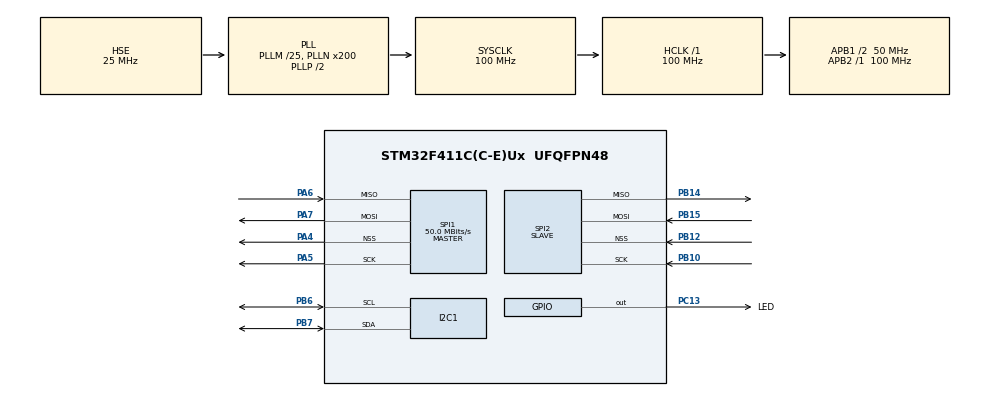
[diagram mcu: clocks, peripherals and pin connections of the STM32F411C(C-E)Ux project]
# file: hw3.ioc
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I2C1.OwnAddress=0x7b
Mcu.Family=STM32F4
Mcu.Name=STM32F411C(C-E)Ux
Mcu.Package=UFQFPN48
NVIC.PriorityGroup=NVIC_PRIORITYGROUP_4
PA13.Mode=JTAG_4_pins
PA13.Signal=SYS_JTMS-SWDIO
PA14.Mode=JTAG_4_pins
PA14.Signal=SYS_JTCK-SWCLK
PA15.Mode=JTAG_4_pins
PA15.Signal=SYS_JTDI
PA4.Mode=NSS_Signal_Hard_Output
PA4.Signal=SPI1_NSS
PA5.Mode=Full_Duplex_Master
PA5.Signal=SPI1_SCK
PA6.Mode=Full_Duplex_Master
PA6.Signal=SPI1_MISO
PA7.Mode=Full_Duplex_Master
PA7.Signal=SPI1_MOSI
PB10.Mode=Full_Duplex_Slave
PB10.Signal=SPI2_SCK
PB12.Mode=NSS_Signal_Hard_Input
PB12.Signal=SPI2_NSS
PB14.Mode=Full_Duplex_Slave
PB14.Signal=SPI2_MISO
PB15.Mode=Full_Duplex_Slave
PB15.Signal=SPI2_MOSI
PB3.Mode=JTAG_4_pins
PB3.Signal=SYS_JTDO-SWO
PB6.Mode=I2C
PB6.Signal=I2C1_SCL
PB7.Mode=I2C
PB7.Signal=I2C1_SDA
PC13-ANTI_TAMP.GPIO_Label=LED
PC13-ANTI_TAMP.GPIO_PuPd=GPIO_PULLDOWN
PC13-ANTI_TAMP.PinState=GPIO_PIN_SET
PC13-ANTI_TAMP.Signal=GPIO_Output
PH0\ -\ OSC_IN.Mode=HSE-External-Oscillator
PH0\ -\ OSC_IN.Signal=RCC_OSC_IN
PH1\ -\ OSC_OUT.Mode=HSE-External-Oscillator
PH1\ -\ OSC_OUT.Signal=RCC_OSC_OUT
ProjectManager.HeapSize=0x200
ProjectManager.StackSize=0x400
ProjectManager.TargetToolchain=Makefile
RCC.48MHZClocksFreq_Value=50000000
RCC.AHBFreq_Value=100000000
RCC.APB1CLKDivider=RCC_HCLK_DIV2
RCC.APB1Freq_Value=50000000
RCC.APB1TimFreq_Value=100000000
RCC.APB2Freq_Value=100000000
RCC.APB2TimFreq_Value=100000000
RCC.CortexFreq_Value=100000000
RCC.HCLKFreq_Value=100000000
RCC.HSE_VALUE=25000000
RCC.HSI_VALUE=16000000
RCC.LSE_VALUE=32768
RCC.PLLM=25
RCC.PLLN=200
RCC.PLLSourceVirtual=RCC_PLLSOURCE_HSE
RCC.PWR_Regulator_Voltage_Scale=PWR_REGULATOR_VOLTAGE_SCALE1
RCC.SYSCLKFreq_VALUE=100000000
RCC.SYSCLKSource=RCC_SYSCLKSOURCE_PLLCLK
RCC.VCOOutputFreq_Value=200000000
SPI1.BaudRatePrescaler=SPI_BAUDRATEPRESCALER_2
SPI1.CLKPhase=SPI_PHASE_2EDGE
SPI1.CLKPolarity=SPI_POLARITY_HIGH
SPI1.CRCCalculation=SPI_CRCCALCULATION_ENABLE
SPI1.CalculateBaudRate=50.0 MBits/s
SPI1.DataSize=SPI_DATASIZE_16BIT
SPI1.Direction=SPI_DIRECTION_2LINES
SPI1.Mode=SPI_MODE_MASTER
SPI1.VirtualNSS=VM_NSSHARD
SPI1.VirtualType=VM_MASTER
SPI2.CLKPhase=SPI_PHASE_2EDGE
SPI2.CLKPolarity=SPI_POLARITY_HIGH
SPI2.CRCCalculation=SPI_CRCCALCULATION_ENABLE
SPI2.DataSize=SPI_DATASIZE_16BIT
SPI2.Direction=SPI_DIRECTION_2LINES
SPI2.Mode=SPI_MODE_SLAVE
SPI2.VirtualNSS=VM_NSSHARD
SPI2.VirtualType=VM_SLAVE
board=custom

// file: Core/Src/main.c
/* USER CODE BEGIN Header */
/**
  ******************************************************************************
  * @file           : main.c
  * @brief          : Main program body
  ******************************************************************************
  * @attention
  *
  * Copyright (c) 2026 STMicroelectronics.
  * All rights reserved.
  *
  * This software is licensed under terms that can be found in the LICENSE file
  * in the root directory of this software component.
  * If no LICENSE file comes with this software, it is provided AS-IS.
  *
  ******************************************************************************
  */
/* USER CODE END Header */
#include "main.h"
#include "i2c.h"
#include "spi.h"
#include "gpio.h"

/* USER CODE BEGIN Includes */
#include "string.h"
/* USER CODE END Includes */

/* USER CODE BEGIN PTD */
typedef enum {
    UART_TX_NEW,
    UART_TX_CONT
} UART_TxStatus_t;
/* USER CODE END PTD */

/* USER CODE BEGIN PM */
#define BAUD_RATE 115200ULL
/* USER CODE END PM */

void SystemClock_Config(void);
/* USER CODE BEGIN PFP */
char* uint32_to_str(uint32_t val, char* buf);
/* USER CODE END PFP */

int main(void)
{

  /* MCU Configuration--------------------------------------------------------*/

  /* Reset of all peripherals, Initializes the Flash interface and the Systick. */
  HAL_Init();

  /* Configure the system clock */
  SystemClock_Config();

  /* Initialize all configured peripherals */
  MX_GPIO_Init();
  MX_I2C1_Init();
  MX_SPI1_Init();
  MX_SPI2_Init();
  /* USER CODE BEGIN 2 */
  BM_UART_Init(BAUD_RATE); // Custom bare-metal init, no HAL USART libraries needed, disabled in CubeMX
  /* USER CODE END 2 */

  /* Infinite loop */
  /* USER CODE BEGIN WHILE */
  uint32_t led_tick = HAL_GetTick();
  uint32_t led_prev_tick = HAL_GetTick();

  char str[256] = {0};
  uint8_t str_len = 0;
  char inttostrbuf[11] = {0};
  char* baudrate_str = uint32_to_str(BAUD_RATE, inttostrbuf);
  str_len = strlen(baudrate_str);
  memcpy(str, "Serial output initiated: ", 25);
  memcpy(str+25, baudrate_str, str_len);
  memcpy(str+25+strlen(baudrate_str)," 8-N-1 \r\n", 9);
  str_len += (25 + 9);

  uint32_t err_count = 0;
  uint32_t res = 0;
  char* err_count_str = NULL;
  BM_UART_Transmit(str, str_len);
  memset(str,0,sizeof(str));
  str_len = 77;
  memcpy(str,"Overflow demo: sending next string while the previous one is on the way...\r\n\0", str_len);
  while(1)
  {
    /* STAGE1 - tx overflow*/
    if (err_count_str == NULL) { //using as flag to miss STAGE1
      res = BM_UART_Transmit(str, str_len);
      if (res) {
        err_count++; // failed sending attempts
        HAL_Delay(1);
        continue; // repeat STAGE1 until the message is successfuly sent
      }
    /* STAGE2 - report */
      LED_GPIO_Port->BSRR = LED_Pin << 16U;
      // Assembling report, just once (err_count_str != 0 anymore)
      err_count_str = uint32_to_str(err_count, inttostrbuf);
      memset(str,0,sizeof(str));
      memcpy(str, "TX attempts failed: ", 20);
      str_len = inttostrbuf + sizeof(inttostrbuf) - err_count_str;
      memcpy(str+20, err_count_str, str_len);
      memcpy(str+20+str_len, "\r\n\0", 3);
      str_len += (20+3);
    }
    if (err_count) {
      res = BM_UART_Transmit(str, str_len);
      if(res) {
        continue;
      }
      err_count = 0;
    }
    /* STAGE3 - reception */
    if (BM_UART_rx_res != 0 ) {
      if (BM_UART_rx_res > 0) {
        str_len = BM_UART_rx_res;
        memcpy(str, BM_UART_rx_buf, str_len);
        err_count = 0;
        err_count_str = NULL;      //enable string back send at stage 1
      }
      BM_UART_Receive(BM_UART_rx_buf, 256);
    }
    /* Blinker */
    led_tick = HAL_GetTick();
    if((led_tick - led_prev_tick) >= 100) {
    uint32_t led_state = LED_GPIO_Port->ODR;
    LED_GPIO_Port->BSRR = ((led_state & LED_Pin) << 16U) | (~led_state & LED_Pin);
      led_prev_tick = led_tick;
    }
    /* USER CODE END WHILE */

  }
}

void SystemClock_Config(void)
{
  RCC_OscInitTypeDef RCC_OscInitStruct = {0};
  RCC_ClkInitTypeDef RCC_ClkInitStruct = {0};

  /** Configure the main internal regulator output voltage
  */
  __HAL_RCC_PWR_CLK_ENABLE();
  __HAL_PWR_VOLTAGESCALING_CONFIG(PWR_REGULATOR_VOLTAGE_SCALE1);

  /** Initializes the RCC Oscillators according to the specified parameters
  * in the RCC_OscInitTypeDef structure.
  */
  RCC_OscInitStruct.OscillatorType = RCC_OSCILLATORTYPE_HSE;
  RCC_OscInitStruct.HSEState = RCC_HSE_ON;
  RCC_OscInitStruct.PLL.PLLState = RCC_PLL_ON;
  RCC_OscInitStruct.PLL.PLLSource = RCC_PLLSOURCE_HSE;
  RCC_OscInitStruct.PLL.PLLM = 25;
  RCC_OscInitStruct.PLL.PLLN = 200;
  RCC_OscInitStruct.PLL.PLLP = RCC_PLLP_DIV2;
  RCC_OscInitStruct.PLL.PLLQ = 4;
  if (HAL_RCC_OscConfig(&RCC_OscInitStruct) != HAL_OK)
  {
    Error_Handler();
  }

  /** Initializes the CPU, AHB and APB buses clocks
  */
  RCC_ClkInitStruct.ClockType = RCC_CLOCKTYPE_HCLK|RCC_CLOCKTYPE_SYSCLK
                              |RCC_CLOCKTYPE_PCLK1|RCC_CLOCKTYPE_PCLK2;
  RCC_ClkInitStruct.SYSCLKSource = RCC_SYSCLKSOURCE_PLLCLK;
  RCC_ClkInitStruct.AHBCLKDivider = RCC_SYSCLK_DIV1;
  RCC_ClkInitStruct.APB1CLKDivider = RCC_HCLK_DIV2;
  RCC_ClkInitStruct.APB2CLKDivider = RCC_HCLK_DIV1;

  if (HAL_RCC_ClockConfig(&RCC_ClkInitStruct, FLASH_LATENCY_3) != HAL_OK)
  {
    Error_Handler();
  }
}

/* USER CODE BEGIN 4 */
// Convert a uint32_t into a null-terminated string array
char* uint32_to_str(uint32_t val, char* buf) {
    int i = 10;
    buf[i] = '\0'; // Put the string terminator at the very end of the array

    // Handle the specific case where the value is exactly 0
    if (val == 0) {
        buf[--i] = '0';
    } else {
        // Extract digits one by one using remainder math
        while (val > 0 && i > 0) {
            buf[--i] = '0' + (val % 10);
            val /= 10;
        }
    }
    return &buf[i]; // Return the pointer to where the number actually begins
}
/* USER CODE END 4 */

void Error_Handler(void)
{
  __disable_irq();
  while (1)
  {
  }
}
